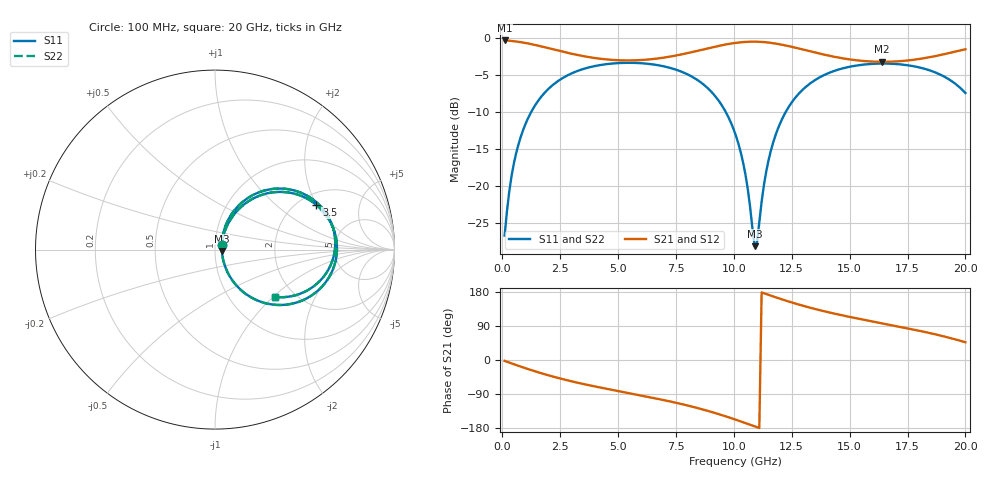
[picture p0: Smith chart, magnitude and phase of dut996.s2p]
! Touchstone file exported from HFSS 2026.1.0
!  File:  C:/ffzhzh/LocalFiles/Ansys_Project_Files/temp_train_TSV_RDL_996_1783289133_5512.aedt
!  Generated:  06:20:18 AM Jul  6, 2026
!  Design:  TSV_RDL
!  Project:  temp_train_TSV_RDL_996_1783289133_5512
! Variables:
!  h_bsmrdl = 2.25um
!  h_ox = 20um
!  h_rdl = 5um
!  h_sub = 57.41um
!  h_tmrdl = 5.28um
!  h_tsv = 57.41um
!  h_via = 3um
!  l_bsmrdl = 798.03um
!  l_sub = 5653.23um
!  l_tmrdl = 691.94um
!  m_sub = 200um
!  pitch = 58.89um
!  r_tsv = 10.7um
!  s_tmrdl = 10um
!  w_bsmrdl = 20.31um
!  w_sub = 500um
!  w_tmrdl = 10.15um
!  x_tsv_center1 = 697.015um
!  x_tsv_center2 = 1515.355um
!  x_tsv_center3 = 2217.445um
!  x_tsv_center4 = 3035.785um
!  x_tsv_center5 = 3737.875um
!  x_tsv_center6 = 4556.215um
# GHz S MA R 50.000000
! Terminal data exported
! Port[1] = TM_RDL1_1_T1
! Port[2] = TM_RDL5_1_T1
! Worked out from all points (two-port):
!   200 points, 100 MHz to 20 GHz, reference 50 ohm
!   highest |S21| = -0.32 dB at 100 MHz (marker M1); lowest = -3.2 dB at 16.4 GHz (marker M2)
!   |S21| within 3 dB of the highest: start of sweep to end of sweep
!   lowest |S11| = -28.2 dB at 10.9 GHz (marker M3), VSWR 1.08, Z = 54 - j0.803 ohm
!   |S11| at or under -10 dB: start of sweep to 1.253 GHz; 9.646 GHz to 12.24 GHz (2.599 GHz wide, 23.7 % of centre)
!   |S22| runs from -28.3 to -3.4 dB; largest |S21 - S12| = 1.7e-14
!   S11 on the Smith chart (normalised r, x): 100 MHz: 1.08, +0.06; 3.5 GHz: 2.46, +1.98; 20 GHz: 1.59, -1.02
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0.1  0.04587 35.5  0.9633 -2.3  0.9633 -2.3  0.04587 35.5
! Gamma 0 0 0 0
! Port Impedance 50 0 50 0
0.3  0.09112 59.0  0.9592 -6.8  0.9592 -6.8  0.09112 59.0
0.5  0.1413 63.0  0.9522 -11.2  0.9522 -11.2  0.1413 63.0
1.1  0.2836 58.3  0.92 -23.7  0.92 -23.7  0.2836 58.3
2.1  0.4688 43.2  0.8462 -42.3  0.8462 -42.3  0.4688 43.2
3.5  0.6173 23.8  0.7543 -63.3  0.7543 -63.3  0.6173 23.8
5.1  0.6779 5.1  0.7068 -83.2  0.7068 -83.2  0.6779 5.1
6.8  0.6515 -14.2  0.7302 -103.6  0.7302 -103.6  0.6515 -14.2
8.9  0.4533 -42.7  0.853 -134.7  0.853 -134.7  0.4533 -42.7
10.1  0.2153 -59.9  0.9283 -157.9  0.9283 -157.9  0.2153 -60.0
10.5  0.1192 -59.8  0.9415 -166.4  0.9415 -166.4  0.1191 -60.0
10.9  0.0389 -11.0  0.9452 -175.1  0.9452 -175.1  0.03842 -11.2
11  0.04109 24.8  0.9445 -177.3  0.9445 -177.3  0.04063 25.0
11.4  0.125 65.3  0.9357 174.0  0.9357 174.0  0.1248 65.5
11.8  0.2197 64.8  0.9179 165.6  0.9179 165.6  0.2196 65.0
12.5  0.3663 55.5  0.8725 151.8  0.8725 151.8  0.3662 55.6
13.4  0.5063 42.2  0.8059 136.3  0.8059 136.3  0.5063 42.2
14.9  0.6342 22.7  0.7206 115.0  0.7206 115.0  0.6342 22.8
16.4  0.6718 5.9  0.6903 96.9  0.6903 96.9  0.6718 5.9
16.7  0.6709 2.6  0.6911 93.3  0.6911 93.3  0.6709 2.7
18.4  0.6084 -16.9  0.7391 72.0  0.7391 72.0  0.6084 -16.9
20  0.4243 -38.4  0.8398 46.8  0.8398 46.8  0.4243 -38.4
